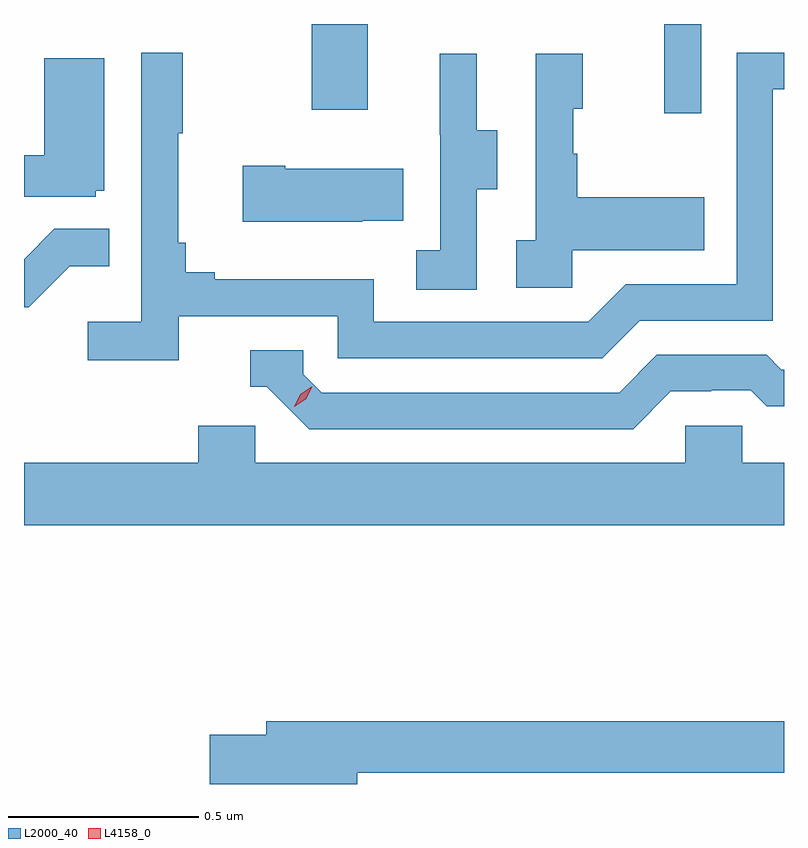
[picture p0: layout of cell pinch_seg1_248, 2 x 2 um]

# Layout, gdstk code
import gdstk
lib = gdstk.Library(unit=1e-6, precision=1e-09)
def R(c, l, rs):  # rectangles x0, y0, x1, y1
    for r in rs: c.add(gdstk.rectangle(r[:2], r[2:], *l))
def P(c, l, *ps):  # polygons
    for p in ps: c.add(gdstk.Polygon(p, *l))
L2000_40 = (2000, 40)
L4158_0 = (4158, 0)

pinch_seg1_248 = lib.new_cell('pinch_seg1_248')
R(pinch_seg1_248, L2000_40, [(914.894,566.136,914.991,566.371), (913.966,566.145,914.113,566.371)])
P(pinch_seg1_248, L2000_40, [(913.616,565.602),(914.034,565.602),(914.034,565.491),(914.731,565.491),(914.83,565.59),(915.18,565.59),(915.18,566.199),(915.209,566.199),(915.209,566.295),(915.084,566.295),(915.084,565.686),(914.793,565.686),(914.694,565.587),(914.13,565.587),(914.13,565.699),(913.711,565.699),(913.711,565.718),(913.634,565.718),(913.634,565.795),(913.615,565.795),(913.615,566.083),(913.627,566.083),(913.627,566.296),(913.518,566.296),(913.518,565.588),(913.377,565.588),(913.377,565.486),(913.616,565.486)],
  [(914.652,565.775),(914.999,565.775),(914.999,565.915),(914.665,565.915),(914.665,566.03),(914.655,566.03),(914.655,566.148),(914.68,566.148),(914.68,566.293),(914.556,566.293),(914.556,565.802),(914.505,565.802),(914.505,565.677),(914.652,565.677)],
  [(914.4,565.936),(914.455,565.936),(914.455,566.091),(914.401,566.091),(914.401,566.293),(914.303,566.293),(914.303,566.079),(914.304,566.079),(914.304,565.775),(914.241,565.775),(914.241,565.672),(914.4,565.672)],
  [(913.398,565.932),(913.42,565.932),(913.42,566.281),(913.262,566.281),(913.262,566.026),(913.209,566.026),(913.209,565.917),(913.398,565.917)],
  [(914.099,565.853),(914.207,565.853),(914.207,565.99),(913.897,565.99),(913.897,565.998),(913.785,565.998),(913.785,565.85),(914.099,565.85)],
  [(913.329,565.733),(913.433,565.733),(913.433,565.832),(913.289,565.832),(913.209,565.752),(913.209,565.626),(913.222,565.626)],
  [(914.911,565.404),(915.018,565.404),(915.018,565.407),(915.121,565.407),(915.163,565.365),(915.209,565.365),(915.209,565.461),(915.202,565.461),(915.163,565.5),(914.874,565.5),(914.775,565.401),(913.992,565.401),(913.944,565.449),(913.944,565.512),(913.805,565.512),(913.805,565.416),(913.848,565.416),(913.959,565.305),(914.812,565.305)],
  [(915.209,565.216),(915.099,565.216),(915.099,565.314),(914.949,565.314),(914.949,565.216),(913.818,565.216),(913.818,565.314),(913.667,565.314),(913.667,565.216),(913.209,565.216),(913.209,565.052),(915.209,565.052)],
  [(914.086,564.4),(915.209,564.4),(915.209,564.536),(913.847,564.536),(913.847,564.5),(913.698,564.5),(913.698,564.371),(914.086,564.371)])
P(pinch_seg1_248, L4158_0, [(913.92,565.364),(913.92,565.364),(913.936,565.397),(913.966,565.416),(913.967,565.416),(913.967,565.416),(913.951,565.383),(913.92,565.364)])

lib.write_gds('pinch_seg1_248.gds')
